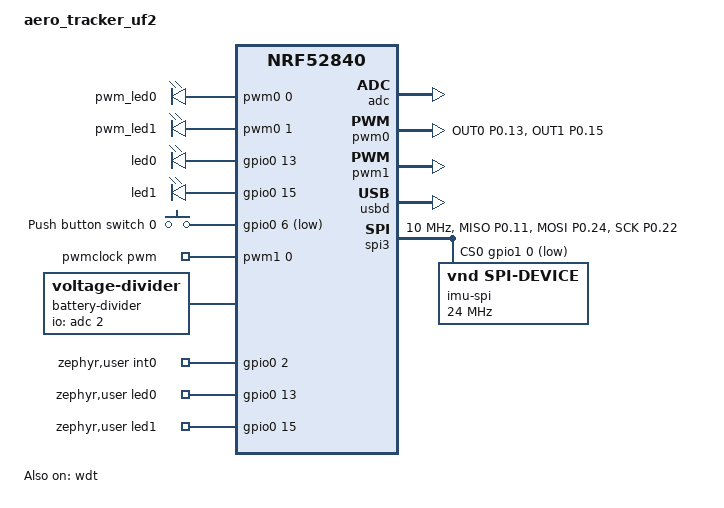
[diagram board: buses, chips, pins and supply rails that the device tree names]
// Copyright (c) 2024 Nordic Semiconductor ASA
// SPDX-License-Identifier: Apache-2.0

/dts-v1/;
#include <nordic/nrf52840_qiaa.dtsi>

&pinctrl {
	pwm0_default: pwm0_default {
		group1 {
			psels = <NRF_PSEL(PWM_OUT0, 0, 13)>,
					<NRF_PSEL(PWM_OUT1, 0, 15)>;
			nordic,drive-mode = <NRF_DRIVE_D0S1>;
		};
	};

	pwm0_sleep: pwm0_sleep {
		group1 {
			psels = <NRF_PSEL(PWM_OUT0, 0, 13)>,
					<NRF_PSEL(PWM_OUT1, 0, 15)>;
			low-power-enable;
		};
	};

	pwm1_default: pwm1_default {
		group1 {
			psels = <NRF_PIN_DISCONNECTED>;
		};
	};

	pwm1_sleep: pwm1_sleep {
		group1 {
			psels = <NRF_PIN_DISCONNECTED>;
			low-power-enable;
		};
	};

	spi3_default: spi3_default {
		group1 {
			psels = <NRF_PSEL(SPIM_MISO, 0, 11)>,
					<NRF_PSEL(SPIM_MOSI, 0, 24)>,
					<NRF_PSEL(SPIM_SCK, 0, 22)>;
		};
	};

	spi3_sleep: spi3_sleep {
		group1 {
			psels = <NRF_PSEL(SPIM_MISO, 0, 11)>,
					<NRF_PSEL(SPIM_MOSI, 0, 24)>,
					<NRF_PSEL(SPIM_SCK, 0, 22)>;
			low-power-enable;
		};
	};
};

/ {
	model = "aero_tracker_uf2";
	compatible = "aero_tracker_uf2";

	chosen {
		zephyr,sram = &sram0;
		zephyr,flash = &flash0;
		zephyr,console = &cdc_acm_uart0;
		zephyr,shell-uart = &cdc_acm_uart0;
	};

	pwmleds {
		compatible = "pwm-leds";
		pwm_led0: pwm_led_0 {
			pwms = <&pwm0 0 PWM_MSEC(1) PWM_POLARITY_NORMAL>;
		};
		pwm_led1: pwm_led_1 {
			pwms = <&pwm0 1 PWM_MSEC(1) PWM_POLARITY_NORMAL>;
		};
	};

	leds {
		compatible = "gpio-leds";
		led0: led_0 {
			gpios = <&gpio0 13 GPIO_OPEN_SOURCE>;
		};
		led1: led_1 {
			gpios = <&gpio0 15 GPIO_OPEN_SOURCE>;
		};
	};

	buttons {
		compatible = "gpio-keys";
		button0: button_0 {
			gpios = <&gpio0 6 (GPIO_PULL_UP | GPIO_ACTIVE_LOW)>;
			label = "Push button switch 0";
		};
	};

	aliases {
		sw0 = &button0; // Uncomment to Enable SW0
		pwm-led0 = &pwm_led0;
		pwm-led1 = &pwm_led1;
		led0 = &led0;
		led1 = &led1;
	};

	pwmclock: pwmclock {
		compatible = "pwm-clock";
		#clock-cells = <1>;
		pwms = <&pwm1 0 PWM_HZ(32768) PWM_POLARITY_NORMAL>;
	};

	battery-divider {
		compatible = "voltage-divider";
		status = "okay";
		io-channels = <&adc 2>;
		output-ohms = <3300000>;
		full-ohms = <(5600000+3300000)>;
	};

	zephyr,user {
		int0-gpios = <&gpio0 2 0>;
		led0-gpios = <&gpio0 13 GPIO_OPEN_SOURCE>;
		led1-gpios = <&gpio0 15 GPIO_OPEN_SOURCE>;
	};

};

&reg0 {
	status = "disabled";
};

&reg1 {
	regulator-initial-mode = <NRF5X_REG_MODE_DCDC>;
};

&adc {
	status = "okay";
};

&gpiote {
	status = "okay";
};

&gpio0 {
	status = "okay";
};

&gpio1 {
	status = "okay";
};

&pwm0 {
	status = "okay";
	pinctrl-0 = <&pwm0_default>;
	pinctrl-1 = <&pwm0_sleep>;
	pinctrl-names = "default", "sleep";
};

&pwm1 {
	status = "okay";
	pinctrl-0 = <&pwm1_default>;
	pinctrl-1 = <&pwm1_sleep>;
	pinctrl-names = "default", "sleep";
};

zephyr_udc0: &usbd {
	compatible = "nordic,nrf-usbd";
	status = "okay";
	cdc_acm_uart0: cdc_acm_uart0 {
		compatible = "zephyr,cdc-acm-uart";
	};
};

&wdt {
	status = "okay";
};

&cryptocell {
	status = "disabled";
};

&nfct {
	status = "disabled";
};

&spi3 {
	compatible = "nordic,nrf-spim";
	status = "okay";
	max-frequency = <DT_FREQ_M(24)>;
	pinctrl-0 = <&spi3_default>;
	pinctrl-1 = <&spi3_sleep>;
	pinctrl-names = "default", "sleep";
	clock-frequency = <DT_FREQ_M(10)>;
	cs-gpios = <&gpio1 0 GPIO_ACTIVE_LOW>;

	imu_spi: imu_spi@0 {
		compatible = "vnd,spi-device";
		spi-max-frequency = <DT_FREQ_M(24)>;
		label = "imu-spi";
		reg = <0>;
	};
};
